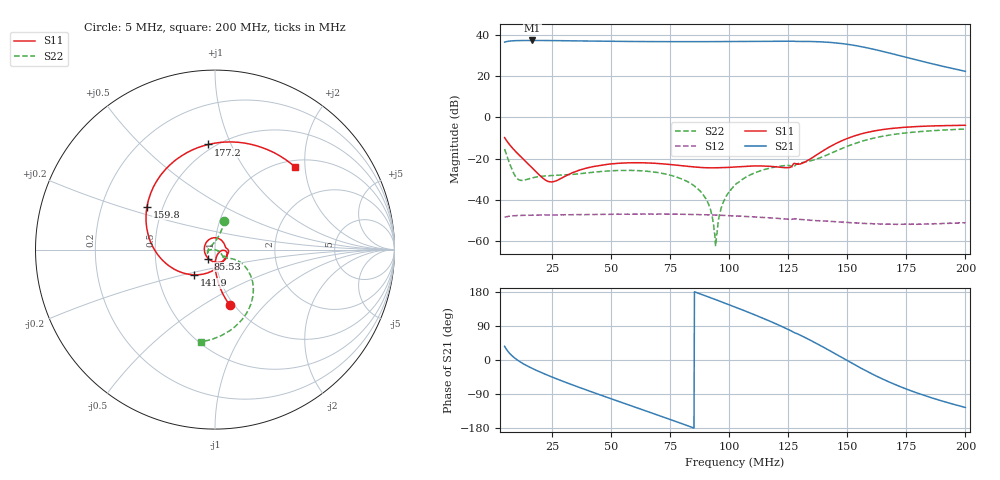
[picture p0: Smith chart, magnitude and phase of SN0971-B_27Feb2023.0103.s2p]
# Hz S DB R 50
! CMT, M5045, 22160017, 22.4.3/2
! Date: 2/27/2023 01:03:21
! Data: Format (Calibration Info)
! Freq	S11:dB/Ang(F2)	S21:dB/Ang(F2)	S12:dB/Ang(F2)	S22:dB/Ang(F2)
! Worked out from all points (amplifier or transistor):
!   1001 points, 5 MHz to 200 MHz, reference 50 ohm
!   highest |S21| = 37.3 dB at 16.7 MHz (marker M1)
!   |S21| within 3 dB of that: start of sweep to 155.9 MHz
!   unconditionally stable (mu >= 1): start of sweep to end of sweep
!   at 37.37 MHz: K = 1.76, MAG = 37.1 dB, |S12| = -47.2 dB
!   at 102.5 MHz: K = 1.93, MAG = 36.8 dB, |S12| = -47.9 dB
!   at 200 MHz: K = 6.28, MAG = 25.8 dB, |S12| = -51.1 dB
!   S11 on the Smith chart (normalised r, x): 5 MHz: 0.96, -0.66; 85.53 MHz: 0.92, -0.09; 141.9 MHz: 0.76, -0.22; 159.8 MHz: 0.41, +0.24; 177.2 MHz: 0.46, +0.83; 200 MHz: 1.13, +1.77
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5000000  -9.87 -75.1  36.49 36.1  -48.58 38.9  -15.40 72.6
7145000  -13.33 -82.3  37.01 17.3  -48.04 20.4  -22.49 75.1
9290000  -16.15 -86.1  37.20 5.1  -47.77 7.8  -28.10 95.7
1.67e7  -24.59 -86.9  37.31 -22.2  -47.50 -19.4  -29.44 166.1
2.684e7  -30.79 -23.8  37.23 -49.3  -47.36 -46.2  -28.12 -173.7
3.7565e7  -25.31 -5.5  37.07 -74.5  -47.17 -69.7  -27.33 -158.9
4.517e7  -23.37 -13.7  36.97 -91.5  -47.12 -85.8  -26.38 -154.6
5.297e7  -22.34 -27.1  36.87 -108.7  -47.09 -101.4  -25.83 -155.3
7.013e7  -22.44 -69.1  36.75 -146.1  -46.93 -135.4  -26.86 -165.5
8.5535e7  -24.11 -127.2  36.73 179.5  -47.10 -166.2  -33.53 179.9
9.392e7  -24.55 -169.2  36.74 160.2  -47.47 176.1  -56.46 -158.2
1.025e8  -24.10 145.8  36.78 139.8  -47.89 157.4  -32.94 -25.2
1.1225e8  -23.58 96.4  36.85 115.6  -48.46 135.0  -26.38 -36.4
1.20635e8  -24.13 47.4  36.93 93.3  -49.00 113.6  -23.82 -43.6
1.2629e8  -24.01 7.9  37.02 76.7  -49.58 98.9  -23.75 -47.0
1.35065e8  -19.71 -84.3  36.79 50.0  -50.04 69.4  -20.93 -32.9
1.4189e8  -14.77 -129.6  36.44 27.1  -50.49 44.2  -18.06 -26.4
1.4969e8  -10.41 -169.6  35.52 -0.4  -51.01 13.1  -14.21 -29.7
1.5983e8  -6.96 147.7  33.38 -34.7  -51.65 -25.5  -10.47 -44.6
1.6763e8  -5.55 120.7  31.26 -57.7  -51.82 -51.9  -8.66 -57.8
1.77185e8  -4.63 93.6  28.48 -81.7  -51.84 -76.1  -7.29 -72.4
2e8  -3.87 46.2  22.33 -125.3  -51.12 -116.2  -5.71 -98.6
